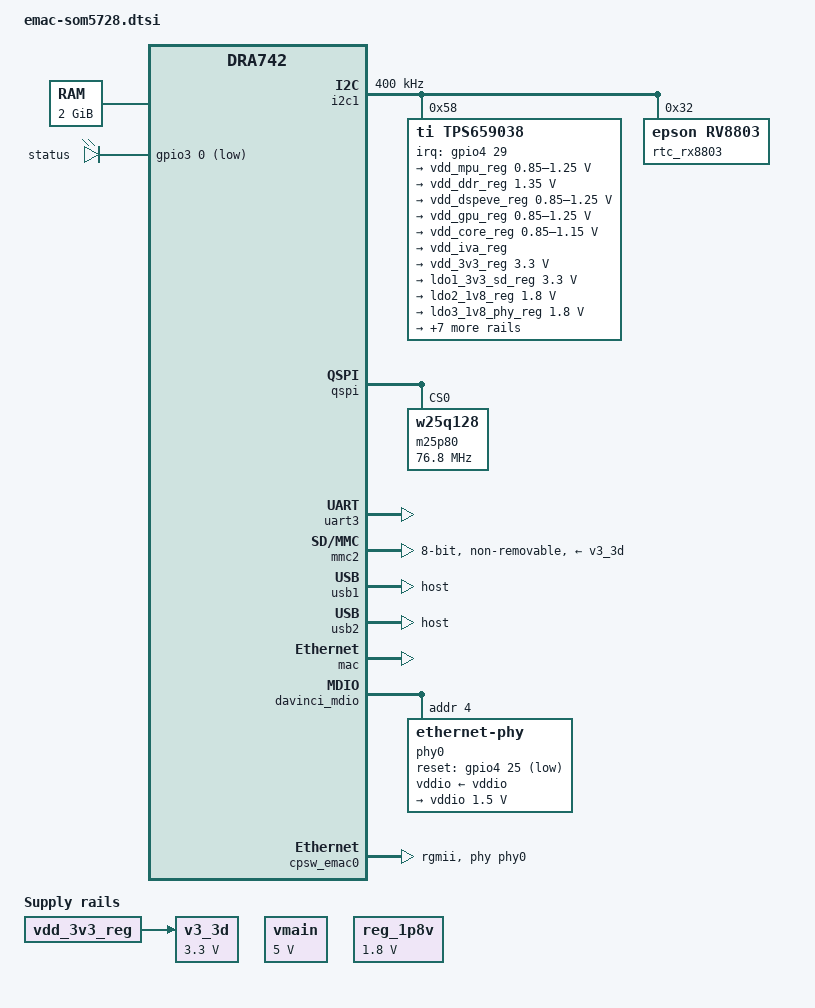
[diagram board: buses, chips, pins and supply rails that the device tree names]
/*
 * Copyright (C) 2014-2016 Texas Instruments Incorporated - http://www.ti.com/
 *
 * This program is free software; you can redistribute it and/or modify
 * it under the terms of the GNU General Public License version 2 as
 * published by the Free Software Foundation.
 */
/dts-v1/;

#include "dra74x.dtsi"
#include "am57xx-commercial-grade.dtsi"

#include <dt-bindings/gpio/gpio.h>
#include <dt-bindings/interrupt-controller/irq.h>
#include <dt-bindings/net/qca-ar803x.h>

/ {
	compatible = "emac,som5728", "ti,am5728", "ti,dra742", "ti,dra74", "ti,dra7";

	aliases {
		rtc0 = &rtc_rx8803;
		rtc1 = &tps659038_rtc;
		rtc2 = &rtc;
        qspi = &qspi;
	};

	chosen {
		stdout-path = &uart3;
	};

	memory@0 {
		device_type = "memory";
		reg = <0x0 0x80000000 0x0 0x80000000>;
	};

	vmain: fixedregulator-vmain {
		compatible = "regulator-fixed";
		regulator-name = "VMAIN";
		regulator-min-microvolt = <5000000>;
		regulator-max-microvolt = <5000000>;
		regulator-always-on;
		regulator-boot-on;
	};

	v3_3d: fixedregulator-v3_3d {
		compatible = "regulator-fixed";
		regulator-name = "V3_3D";
		vin-supply = <&vdd_3v3_reg>;
		regulator-min-microvolt = <3300000>;
		regulator-max-microvolt = <3300000>;
		regulator-always-on;
		regulator-boot-on;
	};
	
	reg_1p8v: fixedregulator-reg_1p8v {
		compatible = "regulator-fixed";
		regulator-name = "1P8V";
		regulator-min-microvolt = <1800000>;
		regulator-max-microvolt = <1800000>;
		regulator-always-on;
	};
	

	leds {
		compatible = "gpio-leds";
		led0 {
			label = "status";
			gpios = <&gpio3 0 GPIO_ACTIVE_LOW>;
			linux,default-trigger = "heartbeat";
		};
	};

	hdmi0_conn: connector {
		compatible = "hdmi-connector";
		label = "hdmi";
		status = "disabled";
		type = "a";

		port {
			hdmi_connector_in: endpoint {
				remote-endpoint = <&tpd12s015_out>;
			};
		};
	};

	tpd12s015_enc: encoder {
		compatible = "ti,tpd12s015";
		status = "disabled";
		ports {
			#address-cells = <1>;
			#size-cells = <0>;

			port@0 {
				reg = <0>;

				tpd12s015_in: endpoint {
					remote-endpoint = <&hdmi_out>;
				};
			};

			port@1 {
				reg = <1>;

				tpd12s015_out: endpoint {
					remote-endpoint = <&hdmi_connector_in>;
				};
			};
		};
	};

	lcd0: display {
		compatible = "sharp,ls037v7dw01";
		label = "lcd";
		status = "disabled";
		power-supply = <&vdd_3v3_reg>;
		envdd-supply = <&vdd_3v3_reg>;

		port {
			lcd_in: endpoint {
				remote-endpoint = <&dpi_out>;
			};
		};
	};
};

&cpu0 {
	vdd-supply = <&vdd_mpu_reg>;
	voltage-tolerance = <1>;
};

&cpu_trips {
	cpu_alert1: cpu_alert1 {
		temperature = <50000>; /* millicelsius */
		hysteresis = <2000>; /* millicelsius */
		type = "active";
	};
};

/*
 * i2c
 */
&i2c1 {
	status = "okay";
	clock-frequency = <400000>;
        // pmic
	tps659038: tps659038@58 {
		compatible = "ti,tps659038";
		reg = <0x58>;
		interrupt-parent = <&gpio4>;
		interrupts = <29 IRQ_TYPE_LEVEL_LOW>;
		#interrupt-cells = <2>;
		interrupt-controller;

		ti,palmas-override-powerhold;
		ti,system-power-controller;

		tps659038_pmic {
			compatible = "ti,tps659038-pmic";
			smps12-in-supply = <&vmain>;
			smps3-in-supply = <&vmain>;
			smps45-in-supply = <&vmain>;
			smps6-in-supply = <&vmain>;
			smps7-in-supply = <&vmain>;
			smps8-in-supply = <&vmain>;
			smps9-in-supply = <&vmain>;
			ldo1-in-supply = <&vmain>;
			ldo2-in-supply = <&vmain>;
			ldo3-in-supply = <&vmain>;
			ldo4-in-supply = <&vmain>;
			ldo9-in-supply = <&vmain>;
			ldoln-in-supply = <&vmain>;
			ldousb-in-supply = <&vmain>;
			ldortc-in-supply = <&vmain>;

			regulators {
				vdd_mpu_reg: smps12 {
					regulator-name = "smps12";
					regulator-min-microvolt = < 850000>;
					regulator-max-microvolt = <1250000>;
					regulator-always-on;
					regulator-boot-on;
				};

				vdd_ddr_reg: smps3 {
					/* VDD_DDR */
					regulator-name = "smps3";
					regulator-min-microvolt = <1350000>;
					regulator-max-microvolt = <1350000>;
					regulator-always-on;
					regulator-boot-on;
				};

				vdd_dspeve_reg: smps45 {
					/* VDD_DSPEVE */
					regulator-name = "smps45";
					regulator-min-microvolt = < 850000>;
					regulator-max-microvolt = <1250000>;
					regulator-always-on;
					regulator-boot-on;
				};

				vdd_gpu_reg: smps6 {
					/* VDD_GPU */
					regulator-name = "smps6";
					regulator-min-microvolt = <850000>;
					regulator-max-microvolt = <1250000>;
					regulator-always-on;
					regulator-boot-on;
				};

				vdd_core_reg: smps7 {
					/* VDD_CORE */
					regulator-name = "smps7";
					regulator-min-microvolt = <850000>;
					regulator-max-microvolt = <1150000>;
					regulator-always-on;
					regulator-boot-on;
				};

				vdd_iva_reg: smps8 {
					/* VDD_IVA */
					regulator-name = "smps8";
					//regulator-min-microvolt = <1800000>;
					//regulator-max-microvolt = <1800000>;
					//regulator-always-on;
					//regulator-boot-on;
				};

				vdd_3v3_reg: smps9 {
					/* VDD_3V3 */
					regulator-name = "smps9";
					regulator-min-microvolt = <3300000>;
					regulator-max-microvolt = <3300000>;
					regulator-always-on;
					regulator-boot-on;
				};

				ldo1_3v3_sd_reg: ldo1 {
					/* VDD_SD / VDDSHV8  */
					regulator-name = "ldo1";
					regulator-min-microvolt = <3300000>;
					regulator-max-microvolt = <3300000>;
					regulator-boot-on;
					regulator-always-on;
				};

				ldo2_1v8_reg: ldo2 {
					/* VDD_SHV5 */
					regulator-name = "ldo2";
					regulator-min-microvolt = <1800000>;
					regulator-max-microvolt = <1800000>;
					regulator-always-on;
					regulator-boot-on;
				};

				ldo3_1v8_phy_reg: ldo3 {
					/* VDDA_1V8_PHYA */
					regulator-name = "ldo3";
					regulator-min-microvolt = <1800000>;
					regulator-max-microvolt = <1800000>;
					regulator-always-on;
					regulator-boot-on;
				};

				ldo4_1v8_phy_reg: ldo4 {
					/* VDDA_1V8_PHYB */
					regulator-name = "ldo4";
					regulator-min-microvolt = <1800000>;
					regulator-max-microvolt = <1800000>;
					regulator-always-on;
					regulator-boot-on;
				};

				ldo9_rtc_reg: ldo9 {
					/* VDD_RTC */
					regulator-name = "ldo9";
					regulator-min-microvolt = <840000>;
					regulator-max-microvolt = <1160000>;
					regulator-always-on;
					regulator-boot-on;
				};

				ldoln_1v8_pll_reg: ldoln {
					/* VDDA_1V8_PLL */
					regulator-name = "ldoln";
					regulator-min-microvolt = <1800000>;
					regulator-max-microvolt = <1800000>;
					regulator-always-on;
					regulator-boot-on;
				};

				ldousb_3v3_reg: ldousb {
					/* VDDA_3V_USB: VDDA_USBHS33 */
					regulator-name = "ldousb";
					regulator-min-microvolt = <3300000>;
					regulator-max-microvolt = <3300000>;
					regulator-boot-on;
				};
				
				ldortc_1v8_reg: ldortc {
					/* VDDA_RTC  */
					regulator-name = "ldortc";
					regulator-min-microvolt = <1800000>;
					regulator-max-microvolt = <1800000>;
					regulator-always-on;
					regulator-boot-on;
				};

				/* unused */
				regen1: regen1 {
					/* VDD_3V3_ON */
					regulator-name = "regen1";
					regulator-boot-on;
					regulator-always-on;
				};
				/* unused */
				regen2: regen2 {
					/* Needed for PMIC internal resource */
					regulator-name = "regen2";
					regulator-boot-on;
					regulator-always-on;
				};
			};
		};

		tps659038_rtc: tps659038_rtc {
			compatible = "ti,palmas-rtc";
			interrupt-parent = <&tps659038>;
			interrupts = <8 IRQ_TYPE_EDGE_FALLING>;
			wakeup-source;
		};

		tps659038_pwr_button: tps659038_pwr_button {
			compatible = "ti,palmas-pwrbutton";
			interrupt-parent = <&tps659038>;
			interrupts = <1 IRQ_TYPE_EDGE_FALLING>;
			wakeup-source;
			ti,palmas-long-press-seconds = <12>;
		};
        
	};
	
	rtc_rx8803: rtc@32 {
		status = "okay";
		compatible = "epson,rv8803";
		reg = <0x32>;
	};
};

/*
 * SPI interfaces
*/

&qspi {
	status = "okay";
	spi-max-frequency = <76800000>;
	m25p80@0 {
		compatible = "w25q128", "jedec,spi-nor";
		spi-max-frequency = <76800000>;
		reg = <0>;
		spi-tx-bus-width = <1>;
		spi-rx-bus-width = <1>;
		#address-cells = <1>;
		#size-cells = <1>;
	};
};

// console
&uart3 {
	status = "okay";
	interrupts-extended = <&crossbar_mpu GIC_SPI 69 IRQ_TYPE_LEVEL_HIGH>, <&dra7_pmx_core 0x3f8>;
};

&mmc1 {
    status = "disabled";
    bus-width = <4>;
    vmmc-supply = <&v3_3d>;
    vqmmc-supply = <&ldo1_3v3_sd_reg>;
    max-frequency = <48000000>;
    no-1-8-v;
    
    pinctrl-names = "default";
    pinctrl-0 = <&mmc1_pins_default>;
};

&mmc2 {
    status = "okay";
    vmmc-supply = <&v3_3d>;
    vqmmc-supply = <&v3_3d>;
    bus-width = <8>;
    non-removable;
    max-frequency = <96000000>;
    
    pinctrl-names = "default";
    pinctrl-0 = <&mmc2_pins_default>;
};

// usb3.x interface
&usb1 { 
	dr_mode = "host";
};

// usb2.x interface
&usb2 { 
	dr_mode = "host";
};

&mac{
	slaves = <1>;
	status = "okay";
};

&davinci_mdio {
    phy0: ethernet-phy@4 {
		reg = <4>;
		qca,clk-out-frequency = <50000000>;
		qca,keep-pll-enabled;
		vddio-supply = <&vddio>;
		reset-gpios = <&gpio4 25 GPIO_ACTIVE_LOW>;
    	reset-assert-us = <500000>;
		reset-deassert-us = <500000>;

		vddio: vddio-regulator {
			regulator-min-microvolt = <1500000>;
			regulator-max-microvolt = <1500000>;
		};
    };
};

&cpsw_emac0 {
    phy-handle = <&phy0>;
    phy-mode = "rgmii";
};
&cpsw_emac1 {
    status = "disabled";
};

&usb2_phy1 {
	phy-supply = <&ldousb_3v3_reg>;
};

&usb2_phy2 {
	phy-supply = <&ldousb_3v3_reg>;
};

&dss {
	status = "disabled";
	vdda_video-supply = <&ldoln_1v8_pll_reg>;

	port {
		dpi_out: endpoint {
			remote-endpoint = <&lcd_in>;
			data-lines = <18>;
		};
	};
};

&hdmi {
	status = "disabled";
	vdda-supply = <&ldo4_1v8_phy_reg>;

	port {
		hdmi_out: endpoint {
			remote-endpoint = <&tpd12s015_in>;
		};
	};
};


&dra7_pmx_core {
	mmc1_pins_default: mmc1_pins_default {
		pinctrl-single,pins = <
			DRA7XX_CORE_IOPAD(0x3754, PIN_INPUT | MUX_MODE0) /* mmc1_clk.clk */
			DRA7XX_CORE_IOPAD(0x3758, PIN_INPUT | MUX_MODE0) /* mmc1_cmd.cmd */
			DRA7XX_CORE_IOPAD(0x375c, PIN_INPUT | MUX_MODE0) /* mmc1_dat0.dat0 */
			DRA7XX_CORE_IOPAD(0x3760, PIN_INPUT | MUX_MODE0) /* mmc1_dat1.dat1 */
			DRA7XX_CORE_IOPAD(0x3764, PIN_INPUT | MUX_MODE0) /* mmc1_dat2.dat2 */
			DRA7XX_CORE_IOPAD(0x3768, PIN_INPUT | MUX_MODE0) /* mmc1_dat3.dat3 */
		>;
	};
	mmc2_pins_default: mmc2_pins_default {
		pinctrl-single,pins = <
			DRA7XX_CORE_IOPAD(0x349c, PIN_INPUT | MUX_MODE1) /* gpmc_a23.mmc2_clk */
			DRA7XX_CORE_IOPAD(0x34b0, PIN_INPUT | MUX_MODE1) /* gpmc_cs1.mmc2_cmd */
			DRA7XX_CORE_IOPAD(0x34a0, PIN_INPUT | MUX_MODE1) /* gpmc_a24.mmc2_dat0 */
			DRA7XX_CORE_IOPAD(0x34a4, PIN_INPUT | MUX_MODE1) /* gpmc_a25.mmc2_dat1 */
			DRA7XX_CORE_IOPAD(0x34a8, PIN_INPUT | MUX_MODE1) /* gpmc_a26.mmc2_dat2 */
			DRA7XX_CORE_IOPAD(0x34ac, PIN_INPUT | MUX_MODE1) /* gpmc_a27.mmc2_dat3 */
			DRA7XX_CORE_IOPAD(0x348c, PIN_INPUT | MUX_MODE1) /* gpmc_a19.mmc2_dat4 */
			DRA7XX_CORE_IOPAD(0x3490, PIN_INPUT | MUX_MODE1) /* gpmc_a20.mmc2_dat5 */
			DRA7XX_CORE_IOPAD(0x3494, PIN_INPUT | MUX_MODE1) /* gpmc_a21.mmc2_dat6 */
			DRA7XX_CORE_IOPAD(0x3498, PIN_INPUT | MUX_MODE1) /* gpmc_a22.mmc2_dat7 */
		>;
	};
};



